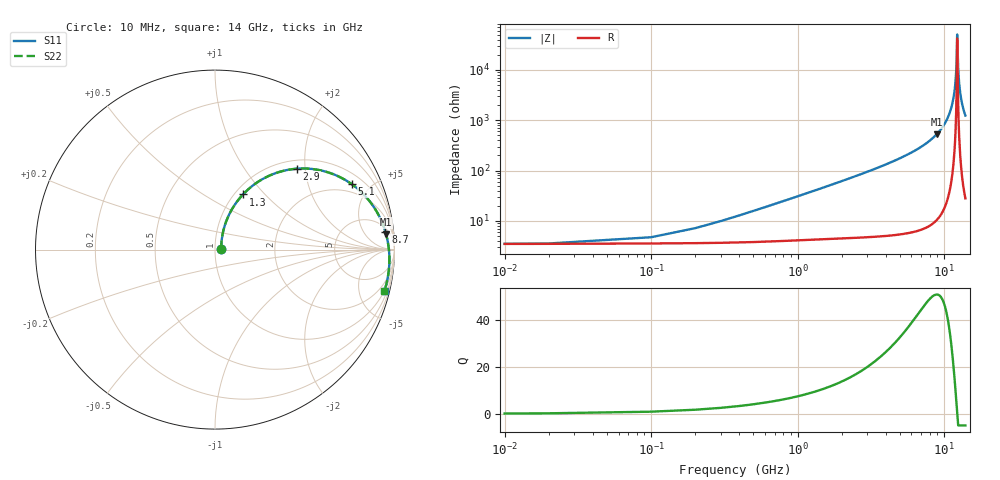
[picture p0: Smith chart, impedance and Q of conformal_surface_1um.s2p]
! Created with skrf 1.12.0 (http://scikit-rf.org).
# GHz S DB R 50.0
!freq dBS11 angS11 dBS21 angS21 dBS12 angS12 dBS22 angS22
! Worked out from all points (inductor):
!   142 points, 10 MHz to 14 GHz, reference 50 ohm
!   read as one part in series: L = 4.86 nH near 400 MHz
!   highest Q = 50.9 at 8.9 GHz (marker M1), where L = 9.36 nH
!   self-resonance near 12.3 GHz
!   S11 on the Smith chart (normalised r, x): 10 MHz: 1.07, +0.01; 1.3 GHz: 1.09, +0.76; 2.9 GHz: 1.18, +1.81; 5.1 GHz: 1.51, +3.84; 8.7 GHz: 7, +16; 14 GHz: 1.00, -8.25
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0.01  -29.42 4.9  -0.30 -0.2  -0.30 -0.2  -29.42 4.9
0.3  -20.91 62.8  -0.36 -5.4  -0.36 -5.4  -20.91 62.8
0.5  -16.91 67.9  -0.44 -8.9  -0.44 -8.9  -16.91 67.9
1.3  -9.25 63.1  -0.99 -21.7  -0.99 -21.7  -9.25 63.1
2.4  -4.96 50.2  -2.21 -36.9  -2.21 -36.9  -4.96 50.2
2.9  -3.86 44.7  -2.89 -42.9  -2.89 -42.9  -3.86 44.7
4.7  -1.73 28.5  -5.75 -59.9  -5.75 -59.9  -1.73 28.5
5.1  -1.47 25.6  -6.45 -62.9  -6.45 -62.9  -1.47 25.6
7.1  -0.69 13.5  -10.29 -75.3  -10.29 -75.3  -0.69 13.5
8.7  -0.40 5.9  -14.13 -83.0  -14.13 -83.0  -0.40 5.9
8.9  -0.38 5.0  -14.70 -83.9  -14.70 -83.9  -0.38 5.0
9.4  -0.33 2.9  -16.25 -85.9  -16.25 -85.9  -0.33 2.9
10.8  -0.24 -2.5  -22.34 -91.0  -22.34 -91.0  -0.24 -2.5
11.7  -0.22 -5.8  -30.34 -92.5  -30.34 -92.5  -0.22 -5.8
11.9  -0.22 -6.5  -33.74 -91.8  -33.74 -91.8  -0.22 -6.5
12.1  -0.22 -7.2  -39.29 -88.6  -39.29 -88.6  -0.22 -7.2
12.2  -0.22 -7.6  -44.29 -82.3  -44.29 -82.3  -0.22 -7.6
12.3  -0.22 -7.9  -54.34 -41.9  -54.34 -41.9  -0.22 -7.9
12.5  -0.22 -8.6  -41.28 71.0  -41.28 71.0  -0.22 -8.6
12.8  -0.22 -9.6  -32.88 76.5  -32.88 76.5  -0.22 -9.6
13.3  -0.23 -11.3  -26.77 76.8  -26.77 76.8  -0.23 -11.3
14  -0.25 -13.6  -22.21 75.3  -22.21 75.3  -0.25 -13.6
